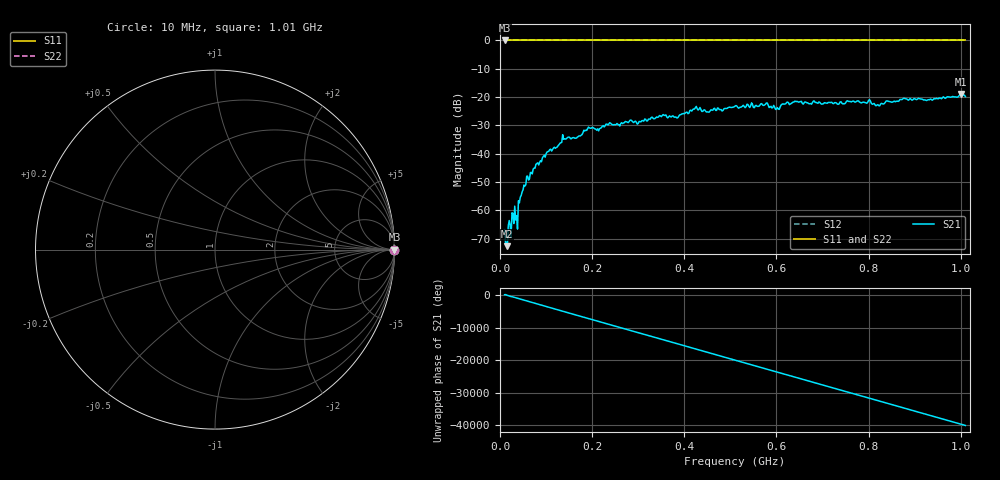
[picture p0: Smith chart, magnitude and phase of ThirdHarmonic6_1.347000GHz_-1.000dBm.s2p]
! 8/16/2025 3:08:51 PM
! C:\ANRITSUVNA\TEMP\TEMP.S2P
! CHANNEL.1
! TR.MEASUREMENT
! RAW.DATA
! RF.CORRECTION.OFF
! AVERAGING.OFF
! IF.BANDWIDTH: 5KHZ
! SWEEPTYPE:  FREQ.SWEEP(Linear)
! Reference Plane Port Info
! PORT:  PORT1  PORT2
! DISTANCE:  0  m  0  m
! TIME:  0  s  0  s
! PHASE.OFFSET:  0  deg.  0  deg.
! LOSS:  0  dB  0  dB
! REF.LOSS:  0  dB  0  dB
! REF.FREQ:  0  Hz  0  Hz
! Power Info
! POWER:  -20  dBm  -20  dBm
! EFF.POWER:  -20  dBm  -20  dBm
! SOURCE.ATTEN:  0  dB  0  dB
! TEST.ATTEN:  0  dB  0  dB
# GHZ S RI R 50.0
! FREQ.GHZ  S11RE  S11IM  S21RE  S21IM  S12RE  S12IM  S22RE  S22IM
!; PortSelection: Port_12
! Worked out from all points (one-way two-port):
!   501 points, 10 MHz to 1.01 GHz, reference 50 ohm
!   highest |S21| = -18.91 dB at 1 GHz (marker M1); lowest = -72.6 dB at 16 MHz (marker M2)
!   lowest |S11| = 0.0 dB at 10 MHz (marker M3)
!   |S11| at or under -10 dB: nowhere
!   |S22| runs from 0.0 to 0.0 dB; largest |S21 - S12| = 1.1
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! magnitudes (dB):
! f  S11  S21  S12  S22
! 10 MHz  0.0  -66.8  0.0  0.0
! 16 MHz  0.0  -72.6  0.0  0.0
! 30 MHz  0.0  -64.6  0.0  0.0
! 34 MHz  0.0  -63.4  0.0  0.0
! 38 MHz  0.0  -66.6  0.0  0.0
! 44 MHz  0.0  -55.4  0.0  0.0
! 56 MHz  0.0  -51.0  0.0  0.0
! 76 MHz  0.0  -45.1  0.0  0.0
! 140 MHz  0.0  -34.7  0.0  0.0
! 178 MHz  0.0  -33.2  0.0  0.0
! 196 MHz  0.0  -31.0  0.0  0.0
! 344 MHz  0.0  -27.0  0.0  0.0
! 510 MHz  0.0  -23.2  0.0  0.0
! 578 MHz  0.0  -22.1  0.0  0.0
! 602 MHz  0.0  -23.7  0.0  0.0
! 622 MHz  0.0  -21.9  0.0  0.0
! 678 MHz  0.0  -21.9  0.0  0.0
! 802 MHz  0.0  -20.9  0.0  0.0
! 820 MHz  0.0  -22.7  0.0  0.0
! 844 MHz  0.0  -21.5  0.0  0.0
! 1 GHz  0.0  -18.9  0.0  0.0
! 1.01 GHz  0.0  -19.8  0.0  0.0
